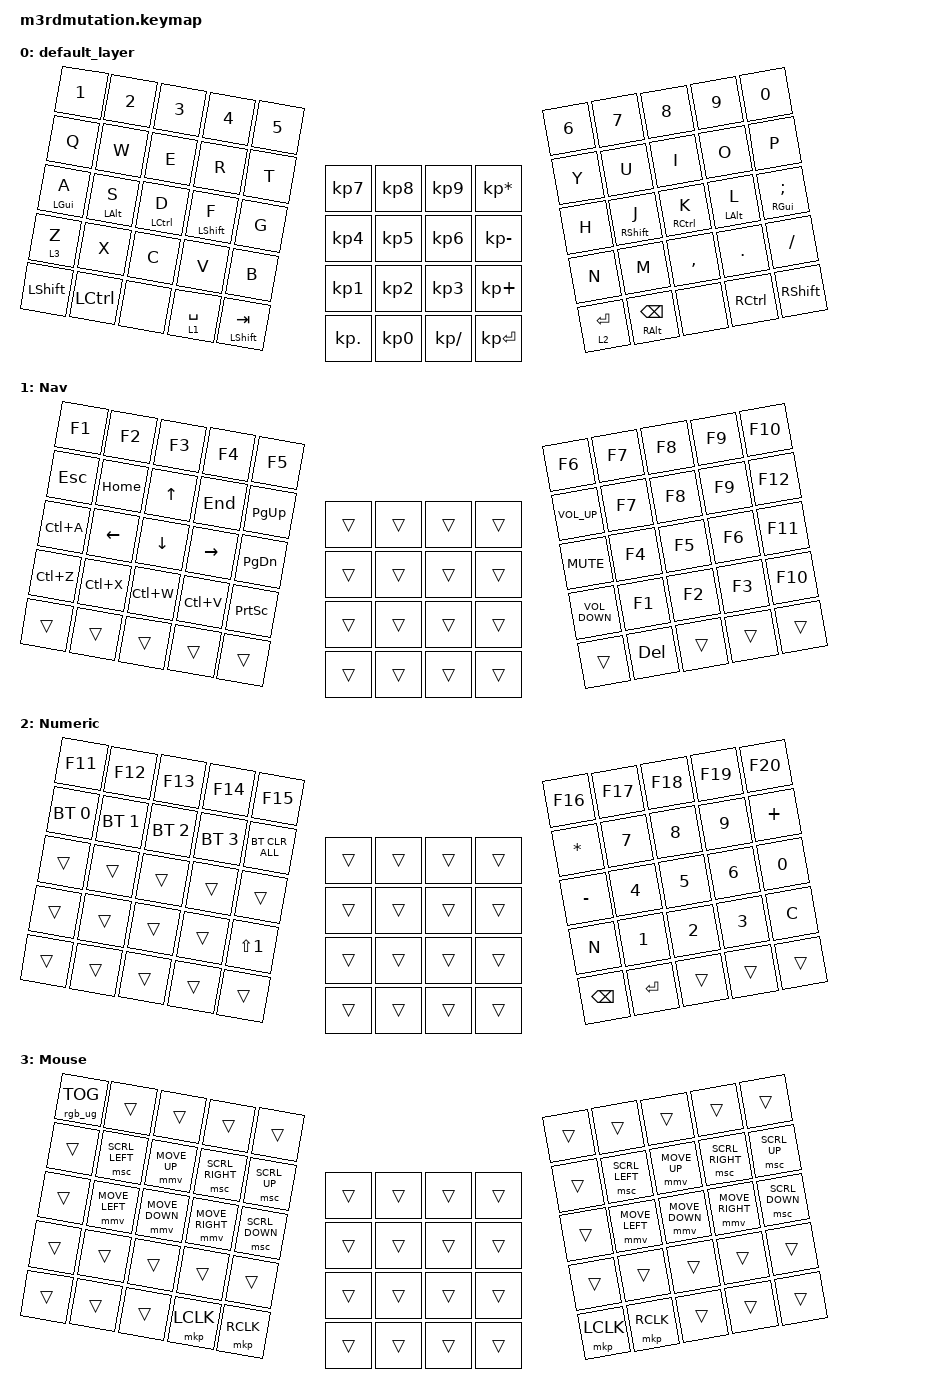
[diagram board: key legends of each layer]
/*
 * Copyright (c) 2020 The ZMK Contributors
 *
 * SPDX-License-Identifier: MIT
 */

#include "m3rdmutation-layouts.dtsi"
#include <dt-bindings/zmk/mouse.h>
#include <behaviors.dtsi>
#include <dt-bindings/zmk/bt.h>
#include <dt-bindings/zmk/keys.h>
#include <dt-bindings/zmk/pointing.h>
#include <dt-bindings/zmk/ext_power.h>
#include <dt-bindings/zmk/rgb.h>
#include <dt-bindings/zmk/status.h>

#define NAV_L 1
#define NUM_L 2
#define SYM_L 3

// Using layer taps on thumbs, having quick tap as well helps w/ repeating space/backspace
//&lt { quick-tap-ms = <200>; };

/ {


behaviors {
        hml: hml {
            compatible = "zmk,behavior-hold-tap";
            flavor = "balanced";
            tapping-term-ms = <200>;
            quick-tap-ms = <175>;
            #binding-cells = <2>;
            bindings = <&kp>, <&kp>;

            hold-trigger-key-positions = <5 6 7 8 9 19 20 21 22 23 33 34 35 36 37 47 48 49 50 51 61 62 63 64 65>;
            require-prior-idle-ms = <100>;
            hold-trigger-on-release;
        };

        hmr: hmr {
            compatible = "zmk,behavior-hold-tap";
            flavor = "balanced";
            tapping-term-ms = <200>;
            quick-tap-ms = <175>;
            #binding-cells = <2>;
            bindings = <&kp>, <&kp>;

            hold-trigger-key-positions = <0 1 2 3 4 10 11 12 13 14 24 25 26 27 28 38 39 40 41 42 52 53 54 55 56>;
            require-prior-idle-ms = <100>;
            hold-trigger-on-release;
        };
    };

    combos {
        compatible = "zmk,combos";

        num_lock {
            bindings = <&to 2>;
            key-positions = <61 62>;
            layers = <1 0 3>;
            timeout-ms = <15>;
            require-prior-idle-ms = <100>;
        };

        backsp {
            bindings = <&kp BACKSPACE>;
            key-positions = <27 28>;
            layers = <0>;
            timeout-ms = <15>;
            require-prior-idle-ms = <100>;
        };

        nav_lock {
            bindings = <&to 1>;
            key-positions = <55 56>;
            layers = <0 2 3>;
            timeout-ms = <15>;
            require-prior-idle-ms = <100>;
        };

        back_home {
            bindings = <&to 0>;
            key-positions = <47 48>;
            timeout-ms = <15>;
            require-prior-idle-ms = <100>;
        };

        esc {
            bindings = <&kp ESCAPE>;
            key-positions = <10 11>;
            layers = <0>;
            timeout-ms = <15>;
            require-prior-idle-ms = <100>;
        };

        suppr {
            bindings = <&kp DEL>;
            key-positions = <40 41>;
            timeout-ms = <15>;
            require-prior-idle-ms = <100>;
            layers = <0>;
        };

        enter_left_hand {
            bindings = <&kp ENTER>;
            key-positions = <41 42>;
            layers = <0>;
        };
    };

    keymap {
        compatible = "zmk,keymap";

        default_layer {
            bindings = <
&kp N1  &kp N2  &kp N3  &kp N4  &kp N5  &kp N6  &kp N7  &kp N8  &kp N9  &kp N0  &kp Q  &kp W  &kp E  &kp R  &kp T  &kp KP_N7  &kp KP_N8  &kp KP_N9  &kp KP_MULTIPLY  &kp Y  &kp U  &kp I  &kp O  &kp P  &hml LEFT_GUI A  &hml LALT S  &hml LEFT_CONTROL D  &hml LEFT_SHIFT F  &kp G  &kp KP_N4  &kp KP_N5  &kp KP_N6  &kp KP_MINUS  &kp H  &hmr RIGHT_SHIFT J  &hmr RIGHT_CONTROL K  &hmr LEFT_ALT L  &hmr RIGHT_GUI SEMICOLON  &lt 3 Z  &kp X  &kp C  &kp V  &kp B  &kp KP_N1  &kp KP_N2  &kp KP_N3  &kp KP_PLUS  &kp N  &kp M  &kp COMMA  &kp PERIOD  &kp FSLH  &kp LEFT_SHIFT  &kp LEFT_CONTROL  &none  &lt 1 SPACE  &mt LEFT_SHIFT TAB  &kp KP_DOT  &kp KP_N0  &kp KP_SLASH  &kp KP_ENTER  &lt 2 ENTER  &mt RIGHT_ALT BACKSPACE  &none  &kp RIGHT_CONTROL  &kp RIGHT_SHIFT
            >;
        };

        Nav {
            bindings = <
&kp F1  &kp F2  &kp F3  &kp F4  &kp F5  &kp F6  &kp F7  &kp F8  &kp F9  &kp F10  &kp ESCAPE  &kp HOME  &kp UP_ARROW  &kp END  &kp PAGE_UP  &trans  &trans  &trans  &trans  &kp C_VOLUME_UP  &kp F7  &kp F8  &kp F9  &kp F12  &kp LC(A)  &kp LEFT  &kp DOWN_ARROW  &kp RIGHT  &kp PAGE_DOWN  &trans  &trans  &trans  &trans  &kp K_MUTE  &kp F4  &kp F5  &kp F6  &kp F11  &kp LC(Z)  &kp LC(X)  &kp LC(W)  &kp LC(V)  &kp PRINTSCREEN  &trans  &trans  &trans  &trans  &kp C_VOLUME_DOWN  &kp F1  &kp F2  &kp F3  &kp F10  &trans  &trans  &trans  &trans  &trans  &trans  &trans  &trans  &trans  &trans  &kp DELETE  &trans  &trans  &trans
            >;
        };

        Numeric {
            bindings = <
&kp F11  &kp F12  &kp F13  &kp F14  &kp F15  &kp F16  &kp F17  &kp F18  &kp F19  &kp F20  &bt BT_SEL 0  &bt BT_SEL 1  &bt BT_SEL 2  &bt BT_SEL 3  &bt BT_CLR_ALL  &trans  &trans  &trans  &trans  &kp ASTERISK  &kp N7  &kp N8  &kp N9  &kp PLUS  &trans  &trans  &trans  &trans  &trans  &trans  &trans  &trans  &trans  &kp MINUS  &kp NUMBER_4  &kp N5  &kp NUMBER_6  &kp N0  &trans  &trans  &trans  &trans  &kp LS(NUMBER_1)  &trans  &trans  &trans  &trans  &kp N  &kp NUMBER_1  &kp NUMBER_2  &kp NUMBER_3  &kp C  &trans  &trans  &trans  &trans  &trans  &trans  &trans  &trans  &trans  &kp BACKSPACE  &kp ENTER  &trans  &trans  &trans
            >;
        };

        Mouse {
            bindings = <
&rgb_ug RGB_TOG &trans  &trans  &trans  &trans  &trans  &trans  &trans  &trans  &trans  &trans  &msc SCRL_LEFT  &mmv MOVE_UP  &msc SCRL_RIGHT  &msc SCRL_UP  &trans  &trans  &trans  &trans  &trans  &msc SCRL_LEFT  &mmv MOVE_UP  &msc SCRL_RIGHT  &msc SCRL_UP  &trans  &mmv MOVE_LEFT  &mmv MOVE_DOWN  &mmv MOVE_RIGHT  &msc SCRL_DOWN  &trans  &trans  &trans  &trans  &trans  &mmv MOVE_LEFT  &mmv MOVE_DOWN  &mmv MOVE_RIGHT  &msc SCRL_DOWN  &trans  &trans  &trans  &trans  &trans  &trans  &trans  &trans  &trans  &trans  &trans  &trans  &trans  &trans  &trans  &trans  &trans  &mkp LCLK  &mkp RCLK  &trans  &trans  &trans  &trans  &mkp LCLK  &mkp RCLK  &trans  &trans  &trans
    >;
        };
    };
};
